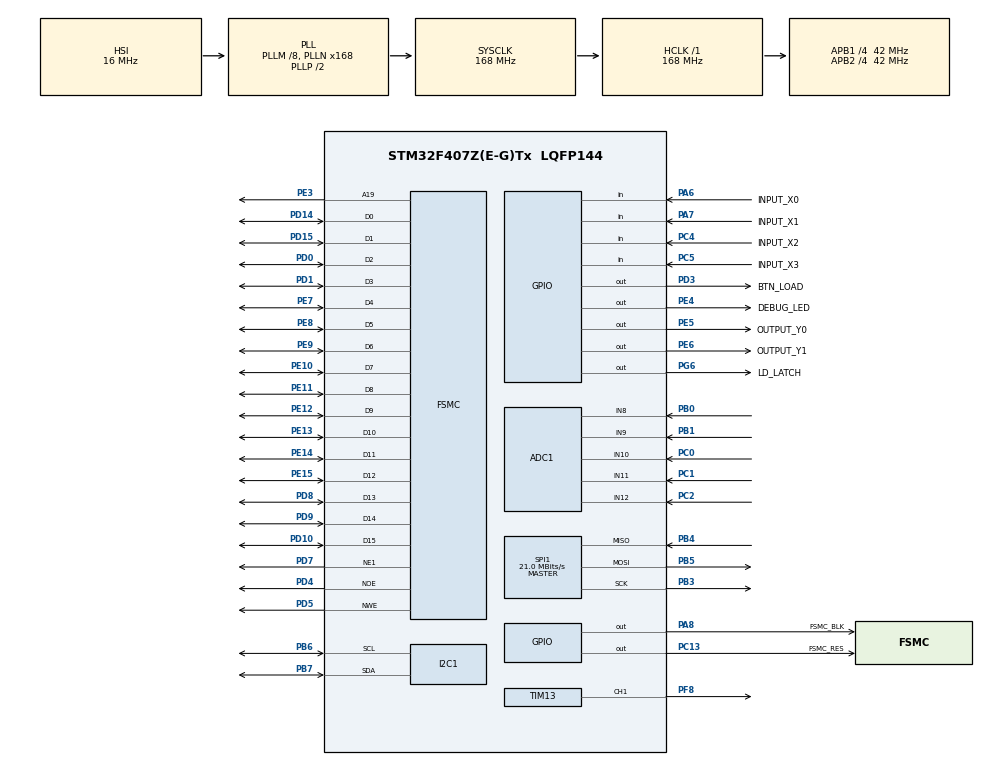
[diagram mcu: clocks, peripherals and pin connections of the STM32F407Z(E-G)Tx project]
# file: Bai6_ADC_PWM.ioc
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ADC1.Channel-0\#ChannelRegularConversion=ADC_CHANNEL_8
ADC1.Channel-1\#ChannelRegularConversion=ADC_CHANNEL_9
ADC1.Channel-2\#ChannelRegularConversion=ADC_CHANNEL_10
ADC1.Channel-3\#ChannelRegularConversion=ADC_CHANNEL_11
ADC1.Channel-4\#ChannelRegularConversion=ADC_CHANNEL_12
ADC1.NbrOfConversion=5
ADC1.NbrOfConversionFlag=1
ADC1.Rank-0\#ChannelRegularConversion=1
ADC1.Rank-1\#ChannelRegularConversion=2
ADC1.Rank-2\#ChannelRegularConversion=3
ADC1.Rank-3\#ChannelRegularConversion=4
ADC1.Rank-4\#ChannelRegularConversion=5
ADC1.SamplingTime-0\#ChannelRegularConversion=ADC_SAMPLETIME_3CYCLES
ADC1.SamplingTime-1\#ChannelRegularConversion=ADC_SAMPLETIME_3CYCLES
ADC1.SamplingTime-2\#ChannelRegularConversion=ADC_SAMPLETIME_3CYCLES
ADC1.SamplingTime-3\#ChannelRegularConversion=ADC_SAMPLETIME_3CYCLES
ADC1.SamplingTime-4\#ChannelRegularConversion=ADC_SAMPLETIME_3CYCLES
ADC1.ScanConvMode=ENABLE
ADC1.master=1
Dma.ADC1.0.Direction=DMA_PERIPH_TO_MEMORY
Dma.ADC1.0.FIFOMode=DMA_FIFOMODE_DISABLE
Dma.ADC1.0.Instance=DMA2_Stream0
Dma.ADC1.0.MemDataAlignment=DMA_MDATAALIGN_HALFWORD
Dma.ADC1.0.MemInc=DMA_MINC_ENABLE
Dma.ADC1.0.Mode=DMA_CIRCULAR
Dma.ADC1.0.PeriphDataAlignment=DMA_PDATAALIGN_HALFWORD
Dma.ADC1.0.PeriphInc=DMA_PINC_DISABLE
Dma.ADC1.0.Priority=DMA_PRIORITY_LOW
Dma.Request0=ADC1
FSMC.AddressSetupTime1=0xf
FSMC.BusTurnAroundDuration1=0
FSMC.DataSetupTime1=60
FSMC.ExtendedAddressSetupTime1=8
FSMC.ExtendedBusTurnAroundDuration1=0
FSMC.ExtendedDataSetupTime1=9
FSMC.ExtendedMode1=FSMC_EXTENDED_MODE_ENABLE
Mcu.Family=STM32F4
Mcu.Name=STM32F407Z(E-G)Tx
Mcu.Package=LQFP144
NVIC.DMA2_Stream0_IRQn=true\:0\:0\:false\:false\:true\:false\:true\:true
NVIC.PriorityGroup=NVIC_PRIORITYGROUP_4
NVIC.TIM2_IRQn=true\:0\:0\:false\:false\:true\:true\:true\:true
PA13.Mode=Serial_Wire
PA13.Signal=SYS_JTMS-SWDIO
PA14.Mode=Serial_Wire
PA14.Signal=SYS_JTCK-SWCLK
PA6.GPIO_Label=INPUT_X0
PA6.Signal=GPIO_Input
PA7.GPIO_Label=INPUT_X1
PA7.Signal=GPIO_Input
PA8.GPIO_Label=FSMC_BLK
PA8.Signal=GPIO_Output
PB0.Signal=ADCx_IN8
PB1.Signal=ADCx_IN9
PB3.Mode=Full_Duplex_Master
PB3.Signal=SPI1_SCK
PB4.Mode=Full_Duplex_Master
PB4.Signal=SPI1_MISO
PB5.Mode=Full_Duplex_Master
PB5.Signal=SPI1_MOSI
PB6.Mode=I2C
PB6.Signal=I2C1_SCL
PB7.Mode=I2C
PB7.Signal=I2C1_SDA
PC0.Signal=ADCx_IN10
PC1.Signal=ADCx_IN11
PC13-ANTI_TAMP.GPIO_Label=FSMC_RES
PC13-ANTI_TAMP.Signal=GPIO_Output
PC2.Signal=ADCx_IN12
PC4.GPIO_Label=INPUT_X2
PC4.Signal=GPIO_Input
PC5.GPIO_Label=INPUT_X3
PC5.Signal=GPIO_Input
PD0.Signal=FSMC_D2_DA2
PD1.Signal=FSMC_D3_DA3
PD10.Signal=FSMC_D15_DA15
PD14.Signal=FSMC_D0_DA0
PD15.Signal=FSMC_D1_DA1
PD3.GPIO_Label=BTN_LOAD
PD3.Signal=GPIO_Output
PD4.Signal=FSMC_NOE
PD5.Signal=FSMC_NWE
PD7.Mode=NorPsramChipSelect1_1
PD7.Signal=FSMC_NE1
PD8.Signal=FSMC_D13_DA13
PD9.Signal=FSMC_D14_DA14
PE10.Signal=FSMC_D7_DA7
PE11.Signal=FSMC_D8_DA8
PE12.Signal=FSMC_D9_DA9
PE13.Signal=FSMC_D10_DA10
PE14.Signal=FSMC_D11_DA11
PE15.Signal=FSMC_D12_DA12
PE3.Signal=FSMC_A19
PE4.GPIO_Label=DEBUG_LED
PE4.Signal=GPIO_Output
PE5.GPIO_Label=OUTPUT_Y0
PE5.Signal=GPIO_Output
PE6.GPIO_Label=OUTPUT_Y1
PE6.Signal=GPIO_Output
PE7.Signal=FSMC_D4_DA4
PE8.Signal=FSMC_D5_DA5
PE9.Signal=FSMC_D6_DA6
PF8.Signal=S_TIM13_CH1
PG6.GPIO_Label=LD_LATCH
PG6.Signal=GPIO_Output
PH0-OSC_IN.Mode=HSE-External-Oscillator
PH0-OSC_IN.Signal=RCC_OSC_IN
PH1-OSC_OUT.Mode=HSE-External-Oscillator
PH1-OSC_OUT.Signal=RCC_OSC_OUT
ProjectManager.HeapSize=0x200
ProjectManager.StackSize=0x400
ProjectManager.TargetToolchain=STM32CubeIDE
RCC.48MHZClocksFreq_Value=84000000
RCC.AHBFreq_Value=168000000
RCC.APB1CLKDivider=RCC_HCLK_DIV4
RCC.APB1Freq_Value=42000000
RCC.APB1TimFreq_Value=84000000
RCC.APB2CLKDivider=RCC_HCLK_DIV4
RCC.APB2Freq_Value=42000000
RCC.APB2TimFreq_Value=84000000
RCC.CortexFreq_Value=168000000
RCC.HCLKFreq_Value=168000000
RCC.HSE_VALUE=8000000
RCC.HSI_VALUE=16000000
RCC.LSE_VALUE=32768
RCC.PLLM=8
RCC.PLLN=168
RCC.SYSCLKFreq_VALUE=168000000
RCC.SYSCLKSource=RCC_SYSCLKSOURCE_PLLCLK
RCC.VCOOutputFreq_Value=336000000
SH.ADCx_IN10.0=ADC1_IN10,IN10
SH.ADCx_IN11.0=ADC1_IN11,IN11
SH.ADCx_IN12.0=ADC1_IN12,IN12
SH.ADCx_IN8.0=ADC1_IN8,IN8
SH.ADCx_IN9.0=ADC1_IN9,IN9
SH.FSMC_A19.0=FSMC_A19,A19_1
SH.FSMC_D0_DA0.0=FSMC_D0,16b-d1
SH.FSMC_D10_DA10.0=FSMC_D10,16b-d1
SH.FSMC_D11_DA11.0=FSMC_D11,16b-d1
SH.FSMC_D12_DA12.0=FSMC_D12,16b-d1
SH.FSMC_D13_DA13.0=FSMC_D13,16b-d1
SH.FSMC_D14_DA14.0=FSMC_D14,16b-d1
SH.FSMC_D15_DA15.0=FSMC_D15,16b-d1
SH.FSMC_D1_DA1.0=FSMC_D1,16b-d1
SH.FSMC_D2_DA2.0=FSMC_D2,16b-d1
SH.FSMC_D3_DA3.0=FSMC_D3,16b-d1
SH.FSMC_D4_DA4.0=FSMC_D4,16b-d1
SH.FSMC_D5_DA5.0=FSMC_D5,16b-d1
SH.FSMC_D6_DA6.0=FSMC_D6,16b-d1
SH.FSMC_D7_DA7.0=FSMC_D7,16b-d1
SH.FSMC_D8_DA8.0=FSMC_D8,16b-d1
SH.FSMC_D9_DA9.0=FSMC_D9,16b-d1
SH.FSMC_NOE.0=FSMC_NOE,Lcd1
SH.FSMC_NWE.0=FSMC_NWE,Lcd1
SH.S_TIM13_CH1.0=TIM13_CH1,PWM Generation1 CH1
SPI1.BaudRatePrescaler=SPI_BAUDRATEPRESCALER_2
SPI1.CalculateBaudRate=21.0 MBits/s
SPI1.Direction=SPI_DIRECTION_2LINES
SPI1.Mode=SPI_MODE_MASTER
SPI1.VirtualType=VM_MASTER
TIM13.Channel=TIM_CHANNEL_1
TIM13.Period=100-1
TIM13.Prescaler=840-1
TIM2.Period=100-1
TIM2.Prescaler=840-1
VP_TIM13_VS_ClockSourceINT.Mode=Enable_Timer
VP_TIM2_VS_ClockSourceINT.Mode=Internal
board=custom

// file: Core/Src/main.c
/* USER CODE BEGIN Header */
/**
  ******************************************************************************
  * @file           : main.c
  * @brief          : Main program body
  ******************************************************************************
  * @attention
  *
  * <h2><center>&copy; Copyright (c) 2023 STMicroelectronics.
  * All rights reserved.</center></h2>
  *
  * This software component is licensed by ST under BSD 3-Clause license,
  * the "License"; You may not use this file except in compliance with the
  * License. You may obtain a copy of the License at:
  *                        opensource.org/licenses/BSD-3-Clause
  *
  ******************************************************************************
  */
/* USER CODE END Header */
#include "main.h"
#include "adc.h"
#include "dma.h"
#include "i2c.h"
#include "spi.h"
#include "tim.h"
#include "gpio.h"
#include "fsmc.h"

/* USER CODE BEGIN Includes */
#include "software_timer.h"
#include "led_7seg.h"
#include "button.h"
#include "lcd.h"
#include "picture.h"
#include "ds3231.h"
#include "sensor.h"
#include "buzzer.h"
/* USER CODE END Includes */

/* USER CODE BEGIN PV */
uint16_t Point[19][2];
/* USER CODE END PV */

void SystemClock_Config(void);
/* USER CODE BEGIN PFP */
void system_init();
void button_Update();
void adc_Display();
void led7_Update();
void adc_Update();
void buzzer_Sound(uint8_t _buzzer_status);
void diagram_display();
/* USER CODE END PFP */

int main(void)
{

  /* MCU Configuration--------------------------------------------------------*/

  /* Reset of all peripherals, Initializes the Flash interface and the Systick. */
  HAL_Init();

  /* Configure the system clock */
  SystemClock_Config();

  /* Initialize all configured peripherals */
  MX_GPIO_Init();
  MX_DMA_Init();
  MX_SPI1_Init();
  MX_FSMC_Init();
  MX_I2C1_Init();
  MX_TIM13_Init();
  MX_TIM2_Init();
  MX_ADC1_Init();
  /* USER CODE BEGIN 2 */
  system_init();
  /* USER CODE END 2 */

  /* Infinite loop */
  /* USER CODE BEGIN WHILE */
  while (1)
  {
	  if(flag_timer[LED7SEG_TIMER] == 1){
		  setTimer(LED7SEG_PERIOD, LED7SEG_TIMER);
		  led7_Scan();
		  led7_SetColon(colon_status = 1 - colon_status);
	  }
	  if(flag_timer[LCD_TIMER] == 1){
		  setTimer(LCD_PERIOD, LCD_TIMER);
		  button_Update();
		  adc_Display();
		  diagram_display();
	  }
	  if(flag_timer[UPDATE_TIMER] == 1){
		  setTimer(UPDATE_PERIOD, UPDATE_TIMER);
		  led7_Update();
		  adc_Update();
	  }
	  if(flag_timer[BUZZER_TIMER] == 1){
		  setTimer(BUZZER_PERIOD, BUZZER_TIMER);
		  if(Humidity > 70){
			  buzzer_Sound(buzzer_status = 1 - buzzer_status);
		  }else{
			  buzzer_Sound(0);
		  }
	  }
	  if(flag_timer[DIAGRAM_TIMER] == 1){
		  setTimer(DIAGRAM_PERIOD, DIAGRAM_TIMER);
		  lcd_Clear(WHITE);
		  for(int i = 18; i > 0; i--){
			  Point[i][0] = Point[i - 1][0] + 10;
			  Point[i][1] = Point[i - 1][1];
		  }
		  Point[0][0] = 10;
		  Point[0][1] = 300 - Power/2.0;
	  }
    /* USER CODE END WHILE */

  }
}

void SystemClock_Config(void)
{
  RCC_OscInitTypeDef RCC_OscInitStruct = {0};
  RCC_ClkInitTypeDef RCC_ClkInitStruct = {0};

  /** Configure the main internal regulator output voltage
  */
  __HAL_RCC_PWR_CLK_ENABLE();
  __HAL_PWR_VOLTAGESCALING_CONFIG(PWR_REGULATOR_VOLTAGE_SCALE1);
  /** Initializes the RCC Oscillators according to the specified parameters
  * in the RCC_OscInitTypeDef structure.
  */
  RCC_OscInitStruct.OscillatorType = RCC_OSCILLATORTYPE_HSI;
  RCC_OscInitStruct.HSIState = RCC_HSI_ON;
  RCC_OscInitStruct.HSICalibrationValue = RCC_HSICALIBRATION_DEFAULT;
  RCC_OscInitStruct.PLL.PLLState = RCC_PLL_ON;
  RCC_OscInitStruct.PLL.PLLSource = RCC_PLLSOURCE_HSI;
  RCC_OscInitStruct.PLL.PLLM = 8;
  RCC_OscInitStruct.PLL.PLLN = 168;
  RCC_OscInitStruct.PLL.PLLP = RCC_PLLP_DIV2;
  RCC_OscInitStruct.PLL.PLLQ = 4;
  if (HAL_RCC_OscConfig(&RCC_OscInitStruct) != HAL_OK)
  {
    Error_Handler();
  }
  /** Initializes the CPU, AHB and APB buses clocks
  */
  RCC_ClkInitStruct.ClockType = RCC_CLOCKTYPE_HCLK|RCC_CLOCKTYPE_SYSCLK
                              |RCC_CLOCKTYPE_PCLK1|RCC_CLOCKTYPE_PCLK2;
  RCC_ClkInitStruct.SYSCLKSource = RCC_SYSCLKSOURCE_PLLCLK;
  RCC_ClkInitStruct.AHBCLKDivider = RCC_SYSCLK_DIV1;
  RCC_ClkInitStruct.APB1CLKDivider = RCC_HCLK_DIV4;
  RCC_ClkInitStruct.APB2CLKDivider = RCC_HCLK_DIV4;

  if (HAL_RCC_ClockConfig(&RCC_ClkInitStruct, FLASH_LATENCY_5) != HAL_OK)
  {
    Error_Handler();
  }
}

/* USER CODE BEGIN 4 */
void point_init(){
	for(int i = 0; i < 19; i++){
		Point[i][0] = 10;
		Point[i][1] = 300;
	}
}

void system_init(){
	timer_init();
	ds3231_init();
	button_init();
	lcd_init();
	sensor_init();
	buzzer_init();
	led7_init();
	point_init();
	setTimer(LCD_PERIOD, LCD_TIMER);
	setTimer(LED7SEG_PERIOD, LED7SEG_TIMER);
	setTimer(UPDATE_PERIOD, UPDATE_TIMER);
	setTimer(BUZZER_PERIOD, BUZZER_TIMER);
	setTimer(DIAGRAM_PERIOD, DIAGRAM_TIMER);
}

void button_Update(){
	button_Scan();
	if(isButtonUp()){
		current_duty_cycle = (current_duty_cycle + 1)%100;
	}
	if(isButtonDown()){
		if(current_duty_cycle > 0){
			current_duty_cycle = (current_duty_cycle - 1)%100;
		}
	}
}

void adc_Display(){
	lcd_ShowStr(10, 10, "Duty cycle:", RED, WHITE, 16, 0);
	lcd_ShowIntNum(130, 10, current_duty_cycle, 2, RED, WHITE, 16);
	lcd_ShowStr(200, 10, "(%)", RED, WHITE, 16, 0);

	lcd_ShowStr(10, 30, "Power:", RED, WHITE, 16, 0);
	lcd_ShowFloatNum(130, 30, Power, 5, RED, WHITE, 16);
	lcd_ShowStr(200, 30, "(mW)", RED, WHITE, 16, 0);

	lcd_ShowStr(10, 50, "Light:", RED, WHITE, 16, 0);
	lcd_ShowStr(130, 50, Light_intensity, RED, WHITE, 16, 0);

	lcd_ShowStr(10, 70, "Temperature:", RED, WHITE, 16, 0);
	lcd_ShowFloatNum(130, 70, sensor_GetTemperature(), 4, RED, WHITE, 16);
	lcd_ShowStr(200, 70, "(oC)", RED, WHITE, 16, 0);

	lcd_ShowStr(10, 90, "Humidity:", RED, WHITE, 16, 0);
	lcd_ShowIntNum(130, 90, Humidity, 2, RED, WHITE, 16);
	lcd_ShowStr(200, 90, "(%)", RED, WHITE, 16, 0);
}

void led7_Update(){
	ds3231_ReadTime();
	led7_SetDigit(ds3231_hours/10, 0, 0);
	led7_SetDigit(ds3231_hours%10, 1, 0);
	led7_SetDigit(ds3231_min/10, 2, 0);
	led7_SetDigit(ds3231_min%10, 3, 0);
}

void adc_Update(){
	sensor_Read();
	Power = sensor_GetCurrent()*sensor_GetVoltage();
	Light = sensor_GetLight();
	if(Light < 2048){
		Light_intensity = "Weak";
	}else{
		Light_intensity = "Strong";
	}
	Humidity = (((float)sensor_GetPotentiometer())/4095.0)*100.0;
}

void buzzer_Sound(uint8_t _buzzer_status){
	if(_buzzer_status == 0){
		buzzer_SetVolume(0);
	}else{
		buzzer_SetVolume(current_duty_cycle);
	}
}

void diagram_display(){
	lcd_ShowStr(10, 180, "Power", BLACK, WHITE, 16, 0);
	lcd_DrawLine(10, 200, 10, 300, BLACK);
	lcd_ShowStr(200, 290, "Time", BLACK, WHITE, 16, 0);
	lcd_DrawLine(10, 300, 190, 300, BLACK);
	for(int i = 0; i < 18; i++){
		lcd_DrawLine(Point[i][0], Point[i][1], Point[i + 1][0], Point[i + 1][1], BLACK);
	}
}
/* USER CODE END 4 */

void Error_Handler(void)
{
  __disable_irq();
  while (1)
  {
  }
}

/************************ (C) COPYRIGHT STMicroelectronics *****END OF FILE****/
